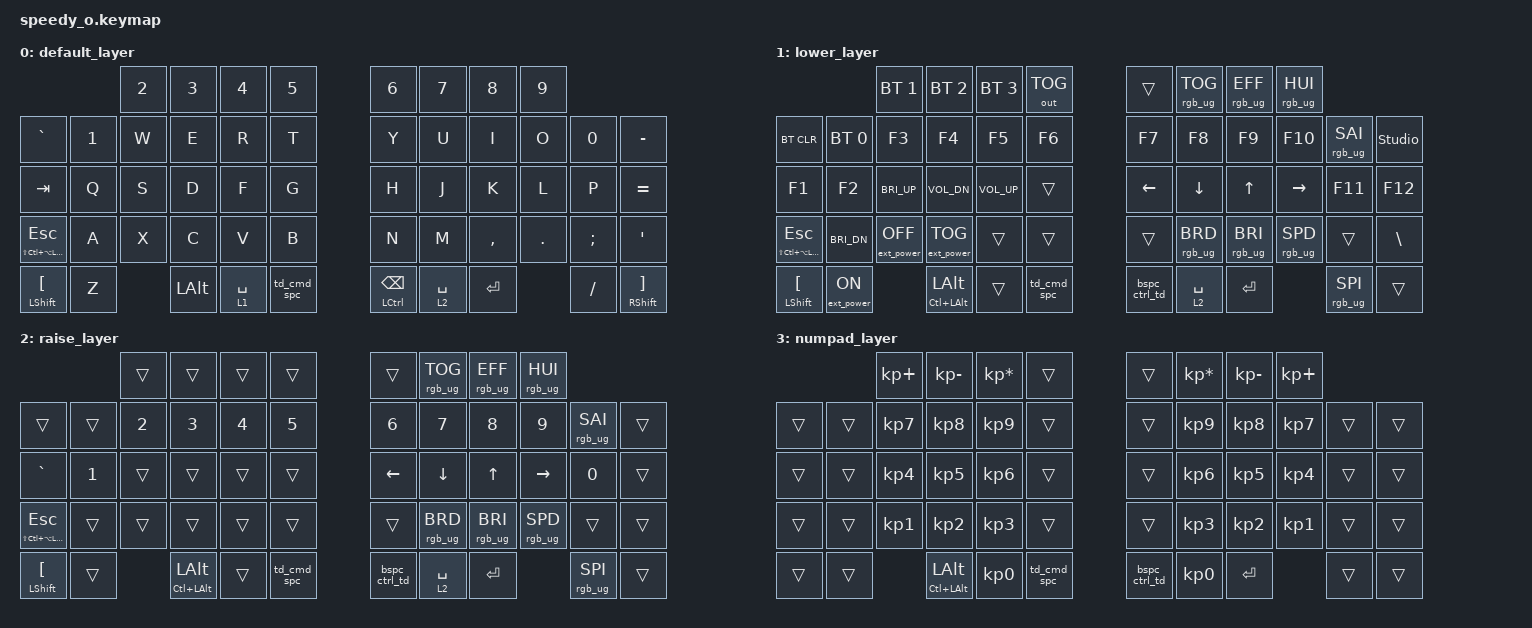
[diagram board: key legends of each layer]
/*
 * Copyright (c) 2020 The ZMK Contributors
 *
 * SPDX-License-Identifier: MIT
 */

#include <behaviors.dtsi>
#include <dt-bindings/zmk/bt.h>
#include <dt-bindings/zmk/ext_power.h>
#include <dt-bindings/zmk/keys.h>
#include <dt-bindings/zmk/rgb.h>
#include <dt-bindings/zmk/outputs.h>

/ {
  // Num pad - triggered only when both space keys are held
    combos {
          compatible = "zmk,combos";
          combo_numpad {
              timeout-ms = <800>;
              key-positions = <49 52>;  // Position numbers of your space layer keys
              bindings = <&tog 3>;  // Toggle layer 3 (numpad)
          };
      };

    behaviors {
        space_layer: space_layer {
            compatible = "zmk,behavior-hold-tap";
            // label = "SPACE_LAYER";
            #binding-cells = <2>;
            tapping-term-ms = <160>;
            quick-tap-ms = <0>;
            flavor = "tap-preferred";
            bindings = <&mo>, <&kp>;
        };

      // Double tap for cmd+space - set as raycast
      td_cmd_spc: tap_dance_cmd_spc {
            compatible = "zmk,behavior-tap-dance";
            // label = "TAP_DANCE_CMD_SPACE";
            #binding-cells = <0>;
            tapping-term-ms = <165>;
            bindings = <&kp LGUI>, <&kp LG(SPACE)>;
        };

      // used with rectangle for window management
      hm_opt_copt: homerow_mods_opt_ctrlopt {
            compatible = "zmk,behavior-hold-tap";
            // label = "HOMEROW_MODS_OPT_CTRLOPT";
            #binding-cells = <2>;
            tapping-term-ms = <165>;
            quick-tap-ms = <0>;
            flavor = "hold-preferred";
            bindings = <&kp>, <&kp>;
        };

      // Backpsace preferred, held for Ctrl
        bspc_ctrl: backspace_ctrl {
            compatible = "zmk,behavior-hold-tap";
            // label = "BACKSPACE_CTRL";
            #binding-cells = <2>;
            tapping-term-ms = <200>;
            quick-tap-ms = <0>;
            flavor = "tap-preferred";
            bindings = <&kp>, <&kp>;
        };

        bspc_ctrl_td: backspace_ctrl_tapdance {
            compatible = "zmk,behavior-tap-dance";
            // label = "BACKSPACE_CTRL_TAPDANCE";
            #binding-cells = <0>;
            tapping-term-ms = <200>;
            bindings = <&bspc_ctrl LCTRL BSPC>, <&kp LA(SPACE)>;
        };

        esc_hyper: esc_hyper {
            compatible = "zmk,behavior-hold-tap";
            // label = "ESC_HYPER";
            #binding-cells = <2>;
            tapping-term-ms = <160>;
            quick-tap-ms = <0>;
            flavor = "tap-preferred";
            bindings = <&kp>, <&kp>;
        };

    };

    keymap {
        compatible = "zmk,keymap";

        default_layer {
            bindings = <
//                                ┌───────────────┬───────────────┬───────────────┬───────────────┐                          ┌───────────────┬───────────────┬───────────────┬───────────────┐
                                    &kp N2          &kp N3          &kp N4          &kp N5                                     &kp N6          &kp N7          &kp N8          &kp N9        
//┌───────────────┬───────────────┬───────────────┼───────────────┼───────────────┼───────────────┤                          ├───────────────┼───────────────┼───────────────┼───────────────┼───────────────┬───────────────┐
    &kp GRAVE       &kp N1          &kp W           &kp E           &kp R           &kp T                                      &kp Y           &kp U           &kp I           &kp O           &kp N0          &kp MINUS
//├───────────────┼───────────────┼───────────────┼───────────────┼───────────────┼───────────────┤                          ├───────────────┼───────────────┼───────────────┼───────────────┼───────────────┼───────────────┤
    &kp TAB         &kp Q           &kp S           &kp D           &kp F           &kp G                                      &kp H           &kp J           &kp K           &kp L           &kp P           &kp EQUAL
//├───────────────┼───────────────┼───────────────┼───────────────┼───────────────┼───────────────┤                          ├───────────────┼───────────────┼───────────────┼───────────────┼───────────────┼───────────────┤
    &esc_hyper LS(LC(LA(LGUI))) ESC
                    &kp A           &kp X           &kp C           &kp V           &kp B                                      &kp N           &kp M           &kp COMMA       &kp DOT         &kp SEMI         &kp SQT
//├───────────────┼───────────────┼───────────────┼───────────────┼───────────────┼───────────────┤                          ├───────────────┼───────────────┼───────────────┼───────────────┴───────────────┼───────────────┤
    &mt LSHFT LBKT  &kp Z                           &kp LALT     &space_layer 1 SPACE  &td_cmd_spc                          &bspc_ctrl LCTRL BSPC  &space_layer 2 SPACE  &kp RET               &kp FSLH        &mt RSHFT RBKT 
//└───────────────┴───────────────┘               └───────────────┴───────────────┴───────────────┘                          └───────────────┴───────────────┴───────────────┘               └───────────────┴───────────────┘
            >;
        };

        lower_layer {
            bindings = <
//                                ┌───────────────┬───────────────┬───────────────┬───────────────┐                          ┌───────────────┬───────────────┬───────────────┬───────────────┐
                                    &bt BT_SEL 1    &bt BT_SEL 2    &bt BT_SEL 3    &out OUT_TOG                               &trans         &rgb_ug RGB_TOG  &rgb_ug RGB_EFF &rgb_ug RGB_HUI
//┌───────────────┬───────────────┬───────────────┼───────────────┼───────────────┼───────────────┤                          ├───────────────┼───────────────┼───────────────┼───────────────┼───────────────┬───────────────┐
    &bt BT_CLR      &bt BT_SEL 0    &kp F3          &kp F4          &kp F5          &kp F6                                     &kp F7          &kp F8          &kp F9          &kp F10         &rgb_ug RGB_SAI &studio_unlock
//├───────────────┼───────────────┼───────────────┼───────────────┼───────────────┼───────────────┤                          ├───────────────┼───────────────┼───────────────┼───────────────┼───────────────┼───────────────┤
    &kp F1          &kp F2          &kp C_BRI_UP    &kp C_VOL_DN    &kp C_VOL_UP    &trans                                     &kp LEFT        &kp DOWN        &kp UP          &kp RIGHT       &kp F11         &kp F12
//├───────────────┼───────────────┼───────────────┼───────────────┼───────────────┼───────────────┤                          ├───────────────┼───────────────┼───────────────┼───────────────┼───────────────┼───────────────┤
    &esc_hyper LS(LC(LA(LGUI))) ESC
                    &kp C_BRI_DN    &ext_power EP_OFF &ext_power EP_TOG  &trans     &trans                                     &trans          &rgb_ug RGB_BRD &rgb_ug RGB_BRI &rgb_ug RGB_SPD &trans          &kp BSLH
//├───────────────┼───────────────┼───────────────┼───────────────┼───────────────┼───────────────┤                          ├───────────────┼───────────────┼───────────────┼───────────────┴───────────────┼───────────────┤
    &mt LSHFT LBKT  &ext_power EP_ON                &hm_opt_copt LC(LALT) LALT   
                                                                    &trans          &td_cmd_spc                                &bspc_ctrl_td   &space_layer 2 SPACE  &kp RET                   &rgb_ug RGB_SPI &trans 
//└───────────────┴───────────────┘               └───────────────┴───────────────┴───────────────┘                          └───────────────┴───────────────┴───────────────┘               └───────────────┴───────────────┘    
            >;
        };

        raise_layer {
            bindings = <
//                                ┌───────────────┬───────────────┬───────────────┬───────────────┐                          ┌───────────────┬───────────────┬───────────────┬───────────────┐
                                    &trans          &trans          &trans          &trans                                      &trans       &rgb_ug RGB_TOG  &rgb_ug RGB_EFF &rgb_ug RGB_HUI 
//┌───────────────┬───────────────┼───────────────┼───────────────┼───────────────┼───────────────┤                          ├───────────────┼───────────────┼───────────────┼───────────────┼───────────────┬───────────────┐
    &trans          &trans          &kp N2          &kp N3          &kp N4          &kp N5                                      &kp N6          &kp N7          &kp N8          &kp N9        &rgb_ug RGB_SAI    &trans
//├───────────────┼───────────────┼───────────────┼───────────────┼───────────────┼───────────────┤                          ├───────────────┼───────────────┼───────────────┼───────────────┼───────────────┼───────────────┤
    &kp GRAVE       &kp N1          &trans          &trans          &trans          &trans                                      &kp LEFT        &kp DOWN        &kp UP          &kp RIGHT       &kp N0          &trans
//├───────────────┼───────────────┼───────────────┼───────────────┼───────────────┼───────────────┤                          ├───────────────┼───────────────┼───────────────┼───────────────┼───────────────┼───────────────┤
    &esc_hyper LS(LC(LA(LGUI))) ESC
                    &trans          &trans          &trans          &trans          &trans                                      &trans        &rgb_ug RGB_BRD &rgb_ug RGB_BRI &rgb_ug RGB_SPD   &trans          &trans
//├───────────────┼───────────────┼───────────────┼───────────────┼───────────────┼───────────────┤                          ├───────────────┼───────────────┼───────────────┼───────────────┴───────────────┼───────────────┤
    &mt LSHFT LBKT  &trans                        &hm_opt_copt LC(LALT) LALT    &trans    &td_cmd_spc                         &bspc_ctrl_td   &space_layer 2 SPACE    &kp RET                 &rgb_ug RGB_SPI  &trans 
//└───────────────┴───────────────┘               └───────────────┴───────────────┴───────────────┘                          └───────────────┴───────────────┴───────────────┘               └───────────────┴───────────────┘
            >;
        };
        
      numpad_layer {
            bindings = <
//                                ┌───────────────┬───────────────┬───────────────┬───────────────┐                          ┌───────────────┬───────────────┬───────────────┬───────────────┐
                                    &kp KP_PLUS     &kp KP_MINUS    &kp KP_MULTIPLY &trans                                     &trans          &kp KP_MULTIPLY &kp KP_MINUS    &kp KP_PLUS    
//┌───────────────┬───────────────┼───────────────┼───────────────┼───────────────┼───────────────┤                          ├───────────────┼───────────────┼───────────────┼───────────────┼───────────────┬───────────────┐
    &trans          &trans          &kp KP_N7       &kp KP_N8       &kp KP_N9       &trans                                     &trans          &kp KP_N9       &kp KP_N8       &kp KP_N7       &trans          &trans
//├───────────────┼───────────────┼───────────────┼───────────────┼───────────────┼───────────────┤                          ├───────────────┼───────────────┼───────────────┼───────────────┼───────────────┼───────────────┤
    &trans          &trans          &kp KP_N4       &kp KP_N5       &kp KP_N6       &trans                                     &trans          &kp KP_N6       &kp KP_N5       &kp KP_N4       &trans          &trans
//├───────────────┼───────────────┼───────────────┼───────────────┼───────────────┼───────────────┤                          ├───────────────┼───────────────┼───────────────┼───────────────┼───────────────┼───────────────┤
    &trans          &trans          &kp KP_N1       &kp KP_N2       &kp KP_N3       &trans                                     &trans          &kp KP_N3       &kp KP_N2       &kp KP_N1       &trans          &trans
//├───────────────┼───────────────┼───────────────┼───────────────┼───────────────┼───────────────┤                          ├───────────────┼───────────────┼───────────────┼───────────────┴───────────────┼───────────────┤
    &trans          &trans                      &hm_opt_copt LC(LALT) LALT &kp KP_N0  &td_cmd_spc                             &bspc_ctrl_td     &kp KP_N0       &kp RET                        &trans          &trans
//└───────────────┴───────────────┘               └───────────────┴───────────────┴───────────────┘                          └───────────────┴───────────────┴───────────────┘               └───────────────┴───────────────┘
                   
//                 
            >;
        };
    };
};
